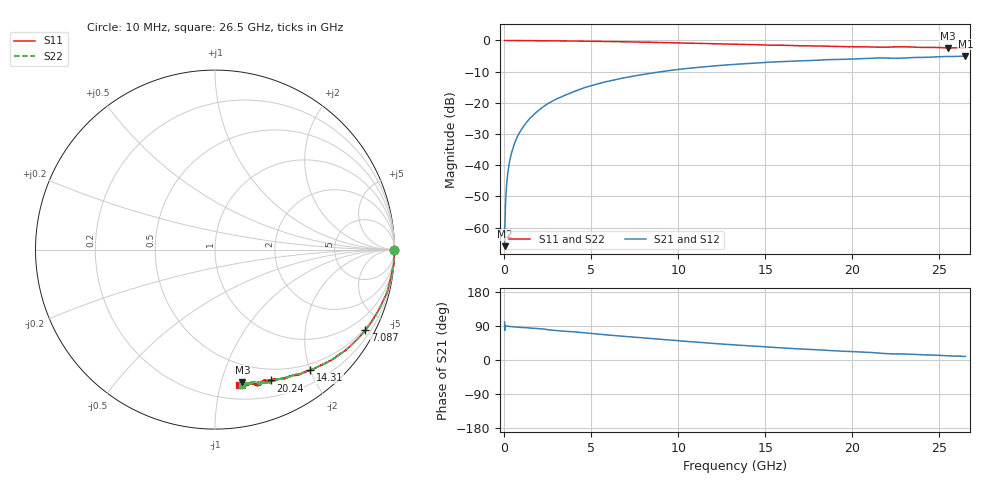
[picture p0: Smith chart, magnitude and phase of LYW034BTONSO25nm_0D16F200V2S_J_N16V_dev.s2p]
!Keysight Technologies,N5222B,MY61253708,A.15.00.15
!Date: Wednesday, June 19, 2024 08:46:09
!Correction: S11(C  2-Port  )
!S21(C  2-Port  )
!S12(C  2-Port  )
!S22(C  2-Port  )
!S2P File: Measurements: S11, S21, S12, S22:
# Hz S  RI  R 50
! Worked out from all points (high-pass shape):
!   2651 points, 10 MHz to 26.5 GHz, reference 50 ohm
!   highest |S21| = -4.99 dB at 26.5 GHz (marker M1); lowest = -65.9 dB at 10 MHz (marker M2)
!   |S21| within 3 dB of the highest: 12.47 GHz to end of sweep
!   lowest |S11| = -2.4 dB at 25.5 GHz (marker M3), VSWR 7.15, Z = 17 - j58.5 ohm
!   |S11| at or under -10 dB: nowhere
!   |S22| runs from -2.3 to 0.0 dB; largest |S21 - S12| = 0.0082
!   S11 on the Smith chart (normalised r, x): 10 MHz: open; 7.087 GHz: 0.42, -3.93; 14.31 GHz: 0.40, -2.00; 20.24 GHz: 0.37, -1.45; 26.5 GHz: 0.32, -1.15
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1e7  0.9986 -0.00215  -9.21e-05 0.000497  -0.000121 0.000458  0.9989 -0.00106
1.699396e8  0.9998 -0.0129  0.000104 0.00661  7.38e-05 0.00664  0.9996 -0.0121
2.099245e8  0.9996 -0.0158  0.000137 0.00815  0.000131 0.00816  0.9994 -0.015
2.699019e8  0.9996 -0.0203  0.000204 0.0105  0.000236 0.0105  0.9997 -0.0195
3.798604e8  0.9992 -0.0287  0.000464 0.0147  0.000487 0.0148  0.9991 -0.0278
5.098113e8  0.9987 -0.0376  0.000776 0.0197  0.00082 0.0198  0.9991 -0.0368
6.697509e8  0.9977 -0.049  0.00137 0.0258  0.00132 0.026  0.9982 -0.0481
8.696755e8  0.9972 -0.0638  0.00225 0.0334  0.00221 0.0335  0.9966 -0.063
1.479445e9  0.9882 -0.1093  0.0056 0.0569  0.00557 0.057  0.9913 -0.1051
2.349117e9  0.9769 -0.1672  0.0141 0.0906  0.0142 0.0909  0.9786 -0.167
3.208792e9  0.9617 -0.2261  0.0281 0.1195  0.0282 0.12  0.9622 -0.2247
4.428332e9  0.9286 -0.3034  0.0505 0.1609  0.0507 0.1615  0.9308 -0.3001
7.087328e9  0.8371 -0.4498  0.123 0.2272  0.1239 0.2278  0.8392 -0.4478
8.846664e9  0.7644 -0.5268  0.1782 0.2558  0.1795 0.2563  0.7668 -0.5247
1.3255e10  0.5733 -0.6526  0.3181 0.2654  0.32 0.2653  0.5777 -0.6512
1.43146e10  0.5308 -0.6722  0.3462 0.2576  0.3476 0.2578  0.5355 -0.6688
1.767333e10  0.3965 -0.7135  0.4241 0.2215  0.4272 0.22  0.4087 -0.7119
2.024236e10  0.3104 -0.729  0.4721 0.1858  0.4745 0.1843  0.3265 -0.7291
2.209166e10  0.2664 -0.7316  0.5001 0.1477  0.5014 0.1456  0.2617 -0.7391
2.308129e10  0.237 -0.7587  0.5046 0.1419  0.5051 0.1419  0.2389 -0.7406
2.550038e10  0.1532 -0.7389  0.5425 0.1041  0.5439 0.1055  0.1744 -0.7456
2.65e10  0.1361 -0.7533  0.5555 0.0928  0.5542 0.0899  0.1489 -0.7542
